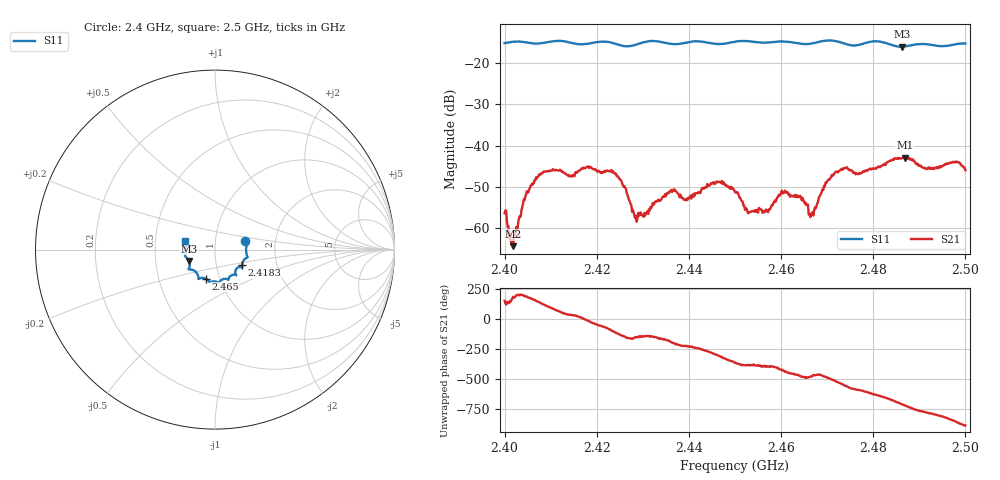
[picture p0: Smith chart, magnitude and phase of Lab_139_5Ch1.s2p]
# Hz S RI R 50
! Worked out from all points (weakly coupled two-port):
!   601 points, 2.4 GHz to 2.5 GHz, reference 50 ohm
!   highest |S21| = -42.88 dB at 2.4868 GHz (marker M1); lowest = -64.4 dB at 2.4018 GHz (marker M2)
!   lowest |S11| = -16.0 dB at 2.4862 GHz (marker M3), VSWR 1.37, Z = 37.1 - j4.82 ohm
!   |S11| at or under -10 dB: start of sweep to end of sweep
!   S12 and S22 are empty: the file has one direction only
!   S11 on the Smith chart (normalised r, x): 2.4 GHz: 1.40, +0.13; 2.4183 GHz: 1.33, -0.24; 2.465 GHz: 0.86, -0.29; 2.5 GHz: 0.71, +0.07
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2.4e9  0.1689 0.0455  -0.00139 0.000611  0 0  0 0
2.401833e9  0.1781 0.037  -0.000596 -9.68e-05  0 0  0 0
2.4045e9  0.1776 0.0232  -0.00235 -0.000512  0 0  0 0
2.407167e9  0.173 -0.00536  -0.00364 0.00206  0 0  0 0
2.416667e9  0.1549 -0.0682  0.00512 0.00127  0 0  0 0
2.418333e9  0.1498 -0.0867  0.00516 -0.00142  0 0  0 0
2.424e9  0.1424 -0.0963  -0.00138 -0.00431  0 0  0 0
2.428667e9  0.1125 -0.1255  -0.000982 -0.000681  0 0  0 0
2.433333e9  0.1168 -0.1411  -0.00202 -0.0009  0 0  0 0
2.4395e9  0.0764 -0.1604  -0.00164 0.00159  0 0  0 0
2.446333e9  0.0498 -0.1633  0.0019 0.00311  0 0  0 0
2.45e9  0.0251 -0.1807  0.00273 3.33e-05  0 0  0 0
2.453167e9  0.0179 -0.1831  0.00143 -0.000629  0 0  0 0
2.457e9  -0.00997 -0.1774  0.00138 -0.00088  0 0  0 0
2.4605e9  -0.0294 -0.1812  0.00102 -0.00244  0 0  0 0
2.465e9  -0.0528 -0.162  -0.00111 -0.00177  0 0  0 0
2.466667e9  -0.0714 -0.1576  -0.000663 -0.00139  0 0  0 0
2.4715e9  -0.092 -0.1627  -0.00388 -0.00224  0 0  0 0
2.483333e9  -0.142 -0.0958  0.00329 0.00549  0 0  0 0
2.486167e9  -0.1445 -0.0634  0.00684 0.0016  0 0  0 0
2.486833e9  -0.1487 -0.0565  0.00717 0.000366  0 0  0 0
2.5e9  -0.1667 0.0473  -0.00486 -0.00136  0 0  0 0
